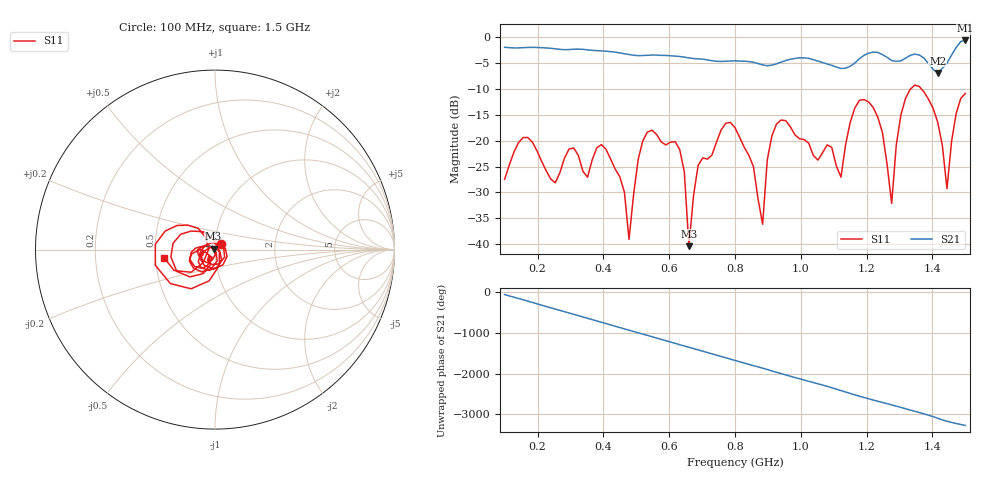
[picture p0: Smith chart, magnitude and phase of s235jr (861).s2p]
! NanoVNA-App
! Date: 2025-09-25 15:10:52
! Start: 100MHz Stop: 1,5GHz Points: 101
! S-Parameter data: F S11 S21 S12 S22
# Hz S RI R 50
!  Frequency  S11_Real  S11_Imag  S21_Real  S21_Imag  S12_Real  S12_Imag  S22_Real  S22_Imag
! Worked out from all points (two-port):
!   101 points, 100 MHz to 1.5 GHz, reference 50 ohm
!   highest |S21| = -0.65 dB at 1.5 GHz (marker M1); lowest = -6.9 dB at 1.416 GHz (marker M2)
!   |S21| within 3 dB of the highest: start of sweep to 613.2 MHz; 1.189 GHz to 1.255 GHz (65.94 MHz wide, 5.4 % of centre) (the widest 2 of 4)
!   lowest |S11| = -40.4 dB at 660 MHz (marker M3), VSWR 1.02, Z = 49.2 + j0.549 ohm
!   |S11| at or under -10 dB: start of sweep to 1.334 GHz; 1.366 GHz to end of sweep
!   S12 and S22 are empty: the file has one direction only
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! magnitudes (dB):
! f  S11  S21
! 100 MHz  -27.5  -2.0
! 156 MHz  -19.4  -2.0
! 338 MHz  -25.9  -2.4
! 408 MHz  -21.7  -2.7
! 478 MHz  -39.1  -3.4
! 520 MHz  -20.0  -3.5
! 576 MHz  -20.3  -3.5
! 632 MHz  -21.7  -3.7
! 660 MHz  -40.4  -4.0
! 688 MHz  -24.8  -4.2
! 800 MHz  -17.5  -4.6
! 884 MHz  -36.1  -5.4
! 926 MHz  -16.8  -5.2
! 1.038 GHz  -22.8  -4.4
! 1.122 GHz  -27.1  -6.1
! 1.164 GHz  -13.7  -5.0
! 1.206 GHz  -12.5  -3.1
! 1.276 GHz  -32.1  -4.5
! 1.332 GHz  -10.1  -3.5
! 1.416 GHz  -16.5  -6.9
! 1.444 GHz  -29.3  -5.1
! 1.5 GHz  -10.9  -0.6
